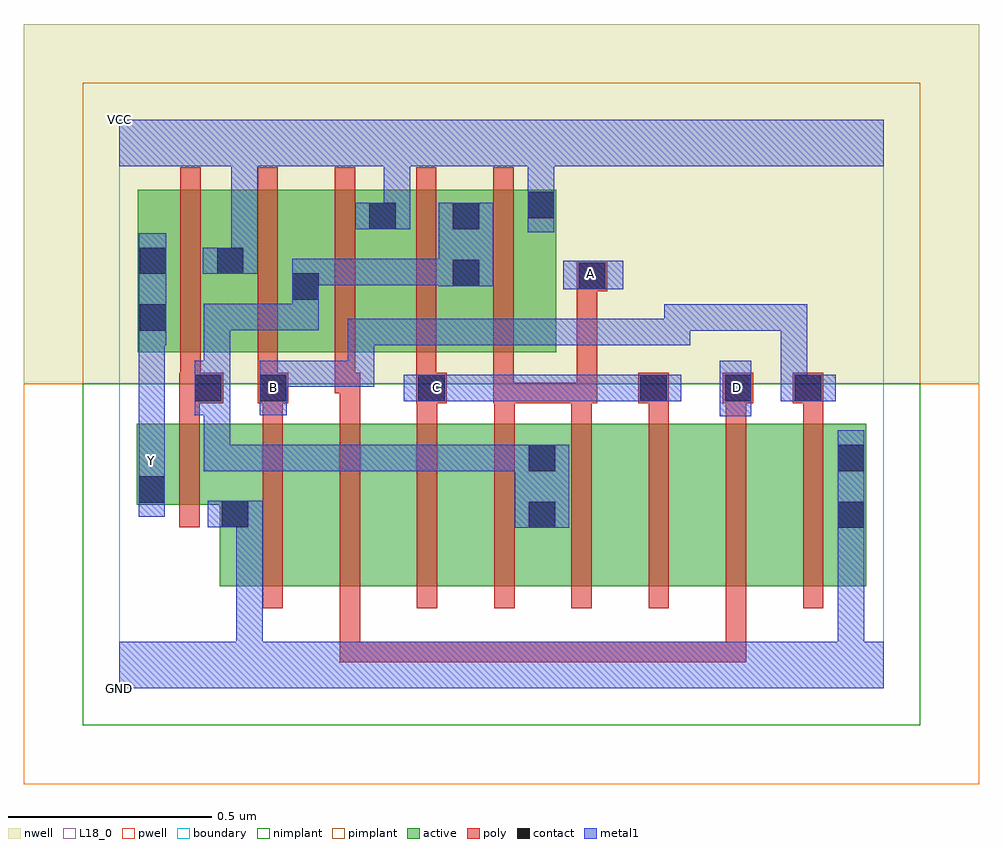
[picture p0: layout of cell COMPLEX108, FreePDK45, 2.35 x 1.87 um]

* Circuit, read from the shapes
.subckt COMPLEX108 A B C D GND VCC Y
M1 GND n1 Y VSUBS nfet w=0.2u l=0.05u
M2 n2 B GND VSUBS nfet w=0.4u l=0.05u
M3 n3 D n2 VSUBS nfet w=0.4u l=0.05u
M4 n4 C n3 VSUBS nfet w=0.4u l=0.05u
M5 n1 A n4 VSUBS nfet w=0.4u l=0.05u
M6 n5 A n1 VSUBS nfet w=0.4u l=0.05u
M7 n6 C n5 VSUBS nfet w=0.4u l=0.05u
M8 n7 D n6 VSUBS nfet w=0.4u l=0.05u
M9 GND B n7 VSUBS nfet w=0.4u l=0.05u
M10 VCC n1 Y n8 pfet w=0.4u l=0.05u
M11 n1 B VCC n8 pfet w=0.4u l=0.05u
M12 VCC D n1 n8 pfet w=0.4u l=0.05u
M13 n1 C VCC n8 pfet w=0.4u l=0.05u
M14 VCC A n1 n8 pfet w=0.4u l=0.05u
.ends

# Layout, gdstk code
import gdstk
lib = gdstk.Library(unit=1e-6, precision=1e-09)
def R(c, l, rs):  # rectangles x0, y0, x1, y1
    for r in rs: c.add(gdstk.rectangle(r[:2], r[2:], *l))
def A(c, l, x, y, w, h, nx, ny, dx, dy):  # array of equal rectangles
    R(c, l, [(x+i*dx, y+j*dy, x+i*dx+w, y+j*dy+h) for i in range(nx) for j in range(ny)])
active = (1, 0)
pwell = (2, 0)
nwell = (3, 0)
nimplant = (4, 0)
pimplant = (5, 0)
poly = (9, 0)
contact = (10, 0)
metal1 = (11, 0)
L18_0 = (18, 0)
boundary = (235, 0)

complex108 = lib.new_cell('COMPLEX108')
R(complex108, active, [(0.247,0.252,0.472,0.652), (0.247,0.252,0.322,0.597), (0.472,0.252,0.662,0.652), (0.662,0.252,0.852,0.652), (0.852,0.252,1.077,0.652), (1.002,0.252,1.077,0.652), (1.002,0.252,1.232,0.652), (1.232,0.252,1.422,0.652), (1.422,0.252,1.612,0.652), (1.612,0.252,1.837,0.652), (1.762,0.252,1.837,0.652), (0.042,0.452,0.322,0.652), (0.042,0.452,0.117,0.652), (0.045,0.827,0.31,1.227), (0.045,0.827,0.12,1.2), (0.235,0.827,0.495,1.227), (0.235,0.827,0.31,1.205), (0.42,0.827,0.685,1.227), (0.42,0.827,0.495,1.2), (0.61,0.827,0.89,1.227), (0.815,0.827,1.075,1.227), (1,0.827,1.075,1.227), (0.61,0.907,0.685,1.205), (0.815,0.907,0.89,1.2)])
R(complex108, pwell, [(-0.235,-0.235,2.115,0.75)])
R(complex108, nwell, [(-0.235,0.75,2.115,1.635)])
R(complex108, nimplant, [(-0.09,-0.09,1.97,0.75)])
R(complex108, pimplant, [(-0.09,0.75,1.97,1.49)])
A(complex108, poly, 0.352, 0.197, 0.05, 0.51, 8, 1, 0.19, 0)
A(complex108, poly, 0.732, 0.657, 0.05, 0.095, 6, 1, 0.19, 0)
A(complex108, poly, 0.15, 0.727, 0.05, 0.095, 3, 1, 0.19, 0)
A(complex108, poly, 0.15, 0.772, 0.05, 0.51, 3, 1, 0.19, 0)
R(complex108, poly, [(0.542,0.065,0.592,0.247), (0.542,0.065,0.592,0.115), (0.542,0.065,0.592,0.115), (0.542,0.065,0.592,0.115), (0.542,0.065,0.725,0.115), (0.675,0.065,0.725,0.115), (0.675,0.065,1.03,0.115), (0.98,0.065,1.03,0.115), (0.98,0.065,1.03,0.115), (0.98,0.065,1.03,0.115), (0.98,0.065,1.162,0.115), (1.112,0.065,1.162,0.115), (1.112,0.065,1.162,0.115), (1.112,0.065,1.162,0.115), (1.112,0.065,1.295,0.115), (1.245,0.065,1.295,0.115), (1.245,0.065,1.295,0.115), (1.245,0.065,1.295,0.115), (1.245,0.065,1.542,0.115), (1.492,0.065,1.542,0.247), (1.492,0.065,1.542,0.115), (1.492,0.065,1.542,0.115), (1.492,0.065,1.542,0.115), (0.147,0.397,0.197,0.707), (0.147,0.657,0.197,0.752), (0.352,0.657,0.402,0.752), (0.542,0.657,0.592,0.777), (0.147,0.702,0.255,0.777), (0.34,0.702,0.415,0.777), (0.73,0.702,0.805,0.777), (0.92,0.702,0.97,0.822), (0.92,0.702,0.972,0.752), (0.922,0.702,1.162,0.752), (1.112,0.702,1.162,0.752), (1.112,0.702,1.162,0.752), (1.112,0.702,1.175,0.752), (1.125,0.702,1.175,1.027), (1.277,0.702,1.352,0.777), (1.485,0.702,1.56,0.777), (1.657,0.702,1.732,0.777), (0.53,0.727,0.592,0.777), (0.73,0.727,0.78,0.822), (0.73,0.772,0.78,1.282), (0.92,0.772,0.97,1.282), (1.125,0.977,1.2,1.052), (1.125,0.977,1.175,1.027), (1.125,0.977,1.175,1.027)])
R(complex108, contact, [(1.007,0.395,1.072,0.46), (1.767,0.395,1.832,0.46), (0.252,0.397,0.317,0.462), (0.047,0.457,0.112,0.522), (1.007,0.535,1.072,0.6), (1.767,0.535,1.832,0.6), (0.185,0.707,0.25,0.772), (0.345,0.707,0.41,0.772), (0.735,0.707,0.8,0.772), (1.282,0.707,1.347,0.772), (1.49,0.707,1.555,0.772), (1.662,0.707,1.727,0.772), (0.05,0.88,0.115,0.945), (0.425,0.957,0.49,1.022), (1.13,0.982,1.195,1.047), (0.82,0.99,0.885,1.055), (0.05,1.02,0.115,1.085), (0.24,1.02,0.305,1.085), (0.615,1.13,0.68,1.195), (0.82,1.13,0.885,1.195), (1.005,1.157,1.07,1.222)])
R(complex108, metal1, [(0,0,1.88,0.115), (0.287,0.05,0.352,0.115), (0.287,0.05,0.352,0.115), (0.287,0.05,0.352,0.462), (1.767,0.05,1.832,0.425), (1.767,0.36,1.832,0.425), (1.767,0.36,1.832,0.425), (1.767,0.36,1.832,0.635), (0.972,0.395,1.107,0.6), (0.217,0.397,0.352,0.462), (0.047,0.422,0.112,0.557), (0.047,0.492,0.112,0.557), (0.047,0.492,0.112,0.627), (0.207,0.535,0.272,0.6), (0.207,0.535,0.49,0.6), (0.207,0.535,0.272,0.807), (0.425,0.535,0.49,0.6), (0.425,0.535,0.49,0.6), (0.425,0.535,0.49,0.6), (0.425,0.535,0.627,0.6), (0.562,0.535,0.627,0.6), (0.562,0.535,0.627,0.6), (0.562,0.535,0.627,0.6), (0.562,0.535,0.85,0.6), (0.785,0.535,0.85,0.6), (0.785,0.535,0.85,0.6), (0.785,0.535,0.85,0.6), (0.785,0.535,1.02,0.6), (0.955,0.535,1.02,0.6), (0.955,0.535,1.037,0.6), (0.047,0.562,0.112,0.91), (1.477,0.67,1.555,0.807), (0.185,0.672,0.25,0.807), (0.345,0.672,0.412,0.807), (0.7,0.707,0.847,0.772), (0.782,0.707,0.847,0.772), (0.782,0.707,0.847,0.772), (0.782,0.707,1.02,0.772), (0.955,0.707,1.02,0.772), (0.955,0.707,1.02,0.772), (0.955,0.707,1.02,0.772), (0.955,0.707,1.175,0.772), (1.11,0.707,1.175,0.772), (1.11,0.707,1.312,0.772), (1.247,0.707,1.312,0.772), (1.247,0.707,1.312,0.772), (1.247,0.707,1.382,0.772), (1.627,0.707,1.692,0.772), (1.627,0.707,1.692,0.772), (1.627,0.707,1.762,0.772), (1.627,0.707,1.692,0.945), (0.185,0.742,0.272,0.807), (0.207,0.742,0.272,0.807), (0.207,0.742,0.272,0.947), (0.345,0.742,0.41,0.807), (0.345,0.742,0.412,0.807), (0.347,0.742,0.627,0.807), (0.562,0.742,0.627,0.807), (0.562,0.742,0.627,0.807), (0.562,0.742,0.627,0.807), (0.562,0.742,0.627,0.91), (0.047,0.845,0.115,1.12), (0.562,0.845,0.627,0.91), (0.562,0.845,0.85,0.91), (0.785,0.845,0.85,0.91), (0.785,0.845,0.85,0.91), (0.785,0.845,0.85,0.91), (0.785,0.845,0.987,0.91), (0.922,0.845,0.987,0.91), (0.922,0.845,0.987,0.91), (0.922,0.845,0.987,0.91), (0.922,0.845,1.175,0.91), (1.11,0.845,1.175,0.91), (1.11,0.845,1.175,0.91), (1.11,0.845,1.175,0.91), (1.11,0.845,1.405,0.91), (1.34,0.845,1.405,0.945), (1.34,0.88,1.542,0.945), (1.477,0.88,1.542,0.945), (1.477,0.88,1.542,0.945), (1.477,0.88,1.542,0.945), (1.477,0.88,1.692,0.945), (1.627,0.88,1.692,0.945), (0.207,0.882,0.272,0.947), (0.207,0.882,0.49,0.947), (0.425,0.882,0.49,0.987), (0.425,0.922,0.49,0.987), (0.425,0.922,0.49,1.057), (1.092,0.982,1.24,1.052), (0.785,0.99,0.92,1.195), (0.425,0.992,0.49,1.057), (0.425,0.992,0.49,1.057), (0.425,0.992,0.627,1.057), (0.562,0.992,0.627,1.057), (0.562,0.992,0.627,1.057), (0.562,0.992,0.627,1.057), (0.562,0.992,0.85,1.057), (0.785,0.992,0.85,1.057), (0.785,0.992,0.85,1.057), (0.205,1.02,0.34,1.085), (0.275,1.02,0.34,1.35), (1.005,1.122,1.07,1.257), (0.58,1.13,0.715,1.195), (0.65,1.13,0.715,1.35), (1.005,1.192,1.07,1.35), (0,1.285,1.88,1.4)])
R(complex108, L18_0, [(0,0,1.88,0.115), (0.287,0.05,0.352,0.115), (0.287,0.05,0.352,0.115), (0.287,0.05,0.352,0.462), (1.767,0.05,1.832,0.425), (1.767,0.36,1.832,0.425), (1.767,0.36,1.832,0.425), (1.767,0.36,1.832,0.635), (0.217,0.397,0.352,0.462), (0.047,0.422,0.112,0.557), (0.047,0.492,0.112,0.627), (0.047,0.492,0.112,0.557), (0.047,0.527,0.112,0.592), (0.047,0.562,0.112,0.91), (1.477,0.67,1.555,0.807), (0.345,0.672,0.412,0.807), (0.347,0.707,0.412,0.772), (0.7,0.707,0.847,0.772), (0.747,0.707,0.812,0.772), (0.782,0.707,0.847,0.772), (0.782,0.707,0.847,0.772), (0.782,0.707,1.02,0.772), (0.955,0.707,1.02,0.772), (0.955,0.707,1.02,0.772), (0.955,0.707,1.02,0.772), (0.955,0.707,1.175,0.772), (1.11,0.707,1.175,0.772), (1.11,0.707,1.312,0.772), (1.247,0.707,1.312,0.772), (1.247,0.707,1.312,0.772), (1.247,0.707,1.382,0.772), (1.487,0.707,1.552,0.772), (1.627,0.707,1.692,0.772), (1.627,0.707,1.692,0.772), (1.627,0.707,1.762,0.772), (1.627,0.707,1.692,0.945), (0.345,0.742,0.41,0.807), (0.345,0.742,0.412,0.807), (0.347,0.742,0.627,0.807), (0.562,0.742,0.627,0.807), (0.562,0.742,0.627,0.807), (0.562,0.742,0.627,0.807), (0.562,0.742,0.627,0.91), (0.047,0.845,0.115,1.12), (0.562,0.845,0.627,0.91), (0.562,0.845,0.85,0.91), (0.785,0.845,0.85,0.91), (0.785,0.845,0.85,0.91), (0.785,0.845,0.85,0.91), (0.785,0.845,0.987,0.91), (0.922,0.845,0.987,0.91), (0.922,0.845,0.987,0.91), (0.922,0.845,0.987,0.91), (0.922,0.845,1.175,0.91), (1.11,0.845,1.175,0.91), (1.11,0.845,1.175,0.91), (1.11,0.845,1.175,0.91), (1.11,0.845,1.405,0.91), (1.34,0.845,1.405,0.945), (1.34,0.88,1.542,0.945), (1.477,0.88,1.542,0.945), (1.477,0.88,1.542,0.945), (1.477,0.88,1.542,0.945), (1.477,0.88,1.692,0.945), (1.627,0.88,1.692,0.945), (1.092,0.982,1.24,1.052), (1.127,0.987,1.192,1.052), (0.205,1.02,0.34,1.085), (0.275,1.02,0.34,1.35), (1.005,1.122,1.07,1.257), (0.58,1.13,0.715,1.195), (0.65,1.13,0.715,1.35), (1.005,1.192,1.07,1.35), (0,1.285,1.88,1.4)])
R(complex108, boundary, [(0,0,1.88,1.4)])
complex108.add(gdstk.Label('A', (1.16,1.02), layer=11, texttype=0))
complex108.add(gdstk.Label('B', (0.38,0.74), layer=11, texttype=0))
complex108.add(gdstk.Label('C', (0.78,0.74), layer=11, texttype=0))
complex108.add(gdstk.Label('D', (1.52,0.74), layer=11, texttype=0))
complex108.add(gdstk.Label('Y', (0.08,0.56), layer=11, texttype=0))
complex108.add(gdstk.Label('VCC', (0,1.4), layer=11, texttype=0))
complex108.add(gdstk.Label('GND', (0,0), layer=11, texttype=0))

lib.write_gds('COMPLEX108.gds')
